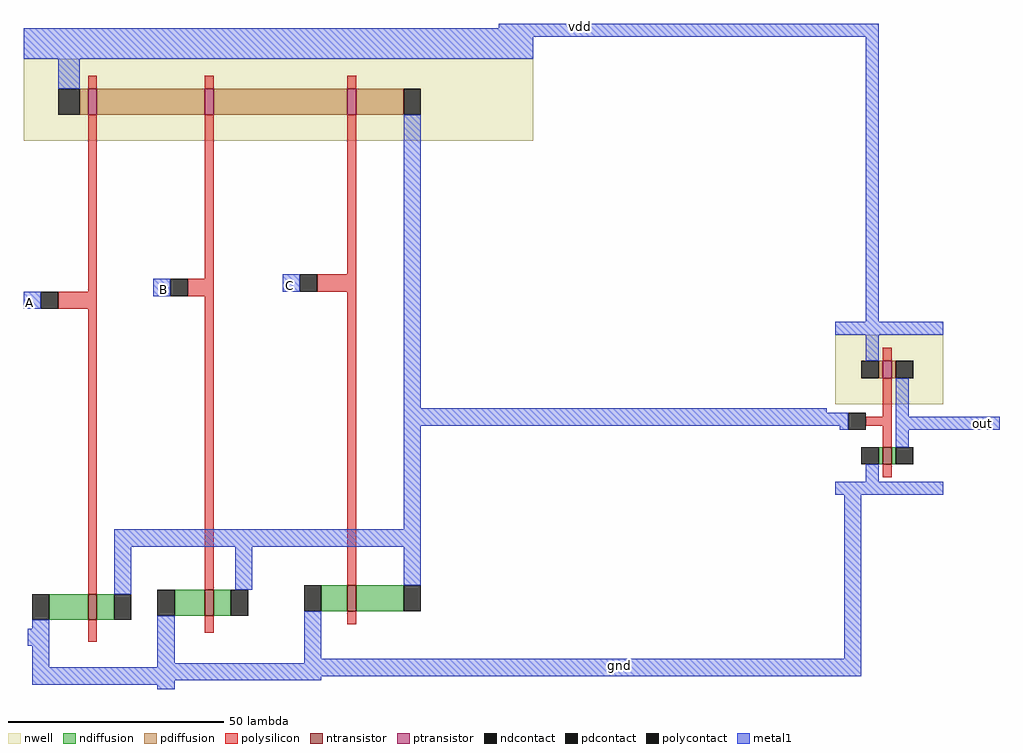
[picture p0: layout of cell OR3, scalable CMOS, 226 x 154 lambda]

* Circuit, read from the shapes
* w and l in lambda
.subckt OR3 A B C gnd out vdd
M1 not_0/in A gnd VSUBS nfet w=6 l=2
M2 not_0/in B gnd VSUBS nfet w=6 l=2
M3 not_0/in C gnd VSUBS nfet w=6 l=2
M4 out not_0/in gnd VSUBS nfet w=4 l=2
M5 n1 A vdd n2 pfet w=6 l=2
M6 n3 B n1 n2 pfet w=6 l=2
M7 not_0/in C n3 n2 pfet w=6 l=2
M8 out not_0/in vdd n4 pfet w=4 l=2
.ends

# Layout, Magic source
magic
tech scmos
<< nwell >>
rect -59 4 59 23
<< ntransistor >>
rect -44 -107 -42 -101
rect -17 -106 -15 -100
rect 16 -105 18 -99
<< ptransistor >>
rect -44 10 -42 16
rect -17 10 -15 16
rect 16 10 18 16
<< ndiffusion >>
rect -53 -107 -44 -101
rect -42 -107 -38 -101
rect -24 -106 -17 -100
rect -15 -106 -11 -100
rect 10 -105 16 -99
rect 18 -105 29 -99
<< pdiffusion >>
rect -46 10 -44 16
rect -42 10 -17 16
rect -15 10 16 16
rect 18 10 29 16
<< ndcontact >>
rect -57 -107 -53 -101
rect -38 -107 -34 -101
rect -28 -106 -24 -100
rect -11 -106 -7 -100
rect 6 -105 10 -99
rect 29 -105 33 -99
<< pdcontact >>
rect -51 10 -46 16
rect 29 10 33 16
<< polysilicon >>
rect -44 16 -42 19
rect -17 16 -15 19
rect 16 16 18 19
rect -44 -31 -42 10
rect -17 -28 -15 10
rect 16 -27 18 10
rect -51 -35 -42 -31
rect -21 -32 -15 -28
rect 9 -31 18 -27
rect -44 -101 -42 -35
rect -17 -100 -15 -32
rect 16 -99 18 -31
rect -44 -112 -42 -107
rect -17 -110 -15 -106
rect 16 -108 18 -105
<< polycontact >>
rect -55 -35 -51 -31
rect -25 -32 -21 -28
rect 5 -31 9 -27
<< metal1 >>
rect 51 30 139 31
rect -59 28 139 30
rect -59 23 59 28
rect -51 16 -46 23
rect -59 -35 -55 -31
rect -29 -32 -25 -28
rect 1 -31 5 -27
rect 29 -58 33 10
rect 136 -41 139 28
rect 29 -59 127 -58
rect 29 -62 132 -59
rect 29 -86 33 -62
rect 151 -63 167 -60
rect -38 -90 33 -86
rect -38 -101 -34 -90
rect -10 -100 -6 -90
rect 29 -99 33 -90
rect -57 -109 -53 -107
rect -58 -113 -53 -109
rect -57 -118 -53 -113
rect -28 -117 -24 -106
rect 6 -116 10 -105
rect 131 -116 135 -76
rect 6 -117 135 -116
rect -28 -118 135 -117
rect -57 -120 135 -118
rect -57 -121 10 -120
rect -57 -122 -24 -121
rect -28 -123 -24 -122
use not  not_0
transform 1 0 138 0 1 -58
box -9 -20 16 20
<< labels >>
rlabel metal1 77 -118 81 -117 1 gnd
rlabel metal1 161 -62 165 -61 7 out
rlabel metal1 68 30 72 31 5 vdd
rlabel metal1 -58 -34 -57 -33 3 A
rlabel metal1 -27 -31 -26 -30 1 B
rlabel metal1 2 -30 3 -29 1 C
<< end >>

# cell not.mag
magic
tech scmos
<< nwell >>
rect -9 1 16 17
<< ntransistor >>
rect 2 -13 4 -9
<< ptransistor >>
rect 2 7 4 11
<< ndiffusion >>
rect 1 -13 2 -9
rect 4 -13 5 -9
<< pdiffusion >>
rect 1 7 2 11
rect 4 7 5 11
<< ndcontact >>
rect -3 -13 1 -9
rect 5 -13 9 -9
<< pdcontact >>
rect -3 7 1 11
rect 5 7 9 11
<< polysilicon >>
rect 2 11 4 14
rect 2 -2 4 7
rect -2 -4 4 -2
rect 2 -9 4 -4
rect 2 -16 4 -13
<< polycontact >>
rect -6 -5 -2 -1
<< metal1 >>
rect -9 17 16 20
rect -2 11 1 17
rect -8 -5 -6 -1
rect 5 -2 8 7
rect 5 -5 16 -2
rect 5 -9 8 -5
rect -2 -17 1 -13
rect -9 -20 16 -17
<< labels >>
rlabel metal1 -5 18 -3 19 4 VDD
rlabel metal1 -8 -4 -7 -2 3 in
rlabel metal1 13 -4 15 -3 7 out
rlabel metal1 -2 -19 0 -18 1 gnd
<< end >>
